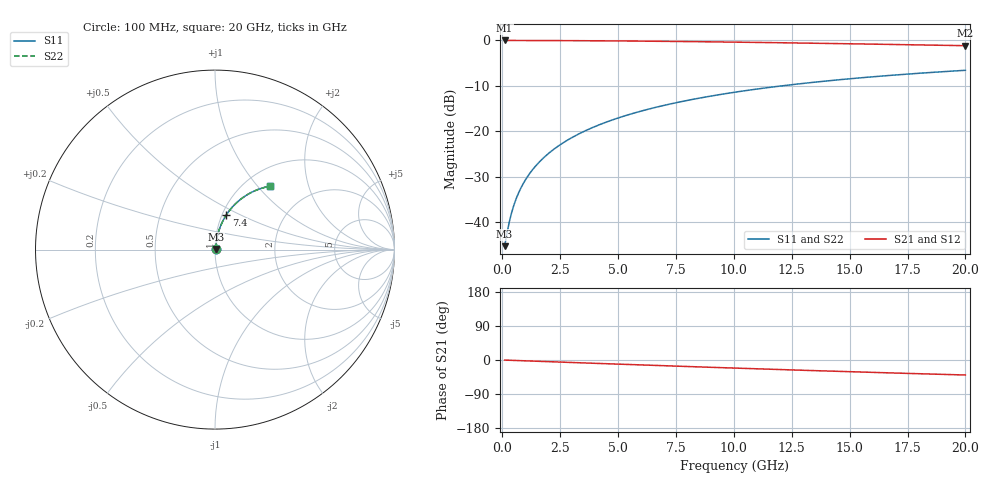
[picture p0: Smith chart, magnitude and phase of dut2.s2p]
! Touchstone file exported from HFSS 2026.1.0
!  File:  C:/ffzhzh/LocalFiles/Ansys_Project_Files/temp_train_TMRDL_2_1782879399_39248.aedt
!  Generated:  12:18:07 PM Jul  1, 2026
!  Design:  TMRDL
!  Project:  temp_train_TMRDL_2_1782879399_39248
! Variables:
!  h_bsmrdl = 2um
!  h_ox = 20um
!  h_rdl = 5um
!  h_sub = 80um
!  h_tmrdl = 2.87um
!  h_tsv = 80um
!  h_via = 3um
!  l_bsmrdl = 300um
!  l_sub = 881.49um
!  l_tmrdl = 481.49um
!  m_sub = 200um
!  pitch = 53.29um
!  r_tsv = 6um
!  s_tmrdl = 10um
!  w_bsmrdl = 18um
!  w_sub = 500um
!  w_tmrdl = 13.2um
!  x_tsv_center1 = 488.09um
!  x_tsv_center2 = 806.09um
!  x_tsv_center3 = 1300.78um
!  x_tsv_center4 = 1618.78um
!  x_tsv_center5 = 2113.47um
!  x_tsv_center6 = 2431.47um
# GHz S MA R 50.000000
! Terminal data exported
! Port[1] = TM_RDL1_1_T1
! Port[2] = TM_RDL1_1_T2
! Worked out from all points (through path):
!   200 points, 100 MHz to 20 GHz, reference 50 ohm
!   highest |S21| = -0.04 dB at 100 MHz (marker M1); lowest = -1.2 dB at 20 GHz (marker M2)
!   group delay of S21, straight-line fit = 5.52 ps
!   lowest |S11| = -45.2 dB at 100 MHz (marker M3), VSWR 1.01, Z = 50.5 + j0.298 ohm
!   |S11| at or under -10 dB: start of sweep to 12.09 GHz
!   |S22| runs from -45.2 to -6.6 dB; largest |S21 - S12| = 4.3e-15
!   S11 on the Smith chart (normalised r, x): 100 MHz: 1.01, +0.01; 7.4 GHz: 1.05, +0.42; 20 GHz: 1.29, +1.17
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0.1  0.005488 32.6  0.9954 -0.2  0.9954 -0.2  0.005488 32.6
! Gamma 0 0 0 0
! Port Impedance 50 0 50 0
0.2  0.007547 51.4  0.9953 -0.5  0.9953 -0.5  0.007547 51.4
0.3  0.01006 61.2  0.9952 -0.7  0.9952 -0.7  0.01006 61.2
0.4  0.01273 66.8  0.9951 -0.9  0.9951 -0.9  0.01273 66.8
0.5  0.01547 70.4  0.995 -1.1  0.995 -1.1  0.01547 70.4
0.6  0.01823 72.8  0.9949 -1.3  0.9949 -1.3  0.01823 72.8
0.8  0.02378 75.7  0.9946 -1.8  0.9946 -1.8  0.02378 75.7
1.1  0.03214 78.1  0.9942 -2.4  0.9942 -2.4  0.03214 78.1
1.5  0.04332 79.4  0.9936 -3.3  0.9936 -3.3  0.04332 79.4
1.8  0.05172 79.9  0.9931 -4.0  0.9931 -4.0  0.05172 79.9
2.1  0.06012 80.0  0.9926 -4.6  0.9926 -4.6  0.06012 80.0
2.7  0.07689 79.7  0.9913 -5.9  0.9913 -5.9  0.07689 79.7
3.5  0.09913 78.8  0.9891 -7.7  0.9891 -7.7  0.09913 78.8
4.2  0.1184 77.8  0.9867 -9.2  0.9867 -9.2  0.1184 77.8
5  0.1402 76.4  0.9836 -10.9  0.9836 -10.9  0.1402 76.4
6.8  0.1881 73.0  0.9749 -14.7  0.9749 -14.7  0.1881 73.0
7.4  0.2036 71.9  0.9715 -16.0  0.9715 -16.0  0.2036 71.9
8.7  0.2364 69.4  0.9636 -18.7  0.9636 -18.7  0.2364 69.4
10.1  0.2704 66.7  0.954 -21.5  0.954 -21.5  0.2704 66.7
13.4  0.3448 60.4  0.9287 -27.9  0.9287 -27.9  0.3448 60.4
16.7  0.4107 54.5  0.9009 -33.9  0.9009 -33.9  0.4107 54.5
20  0.4681 49.0  0.8722 -39.6  0.8722 -39.6  0.4681 49.0
